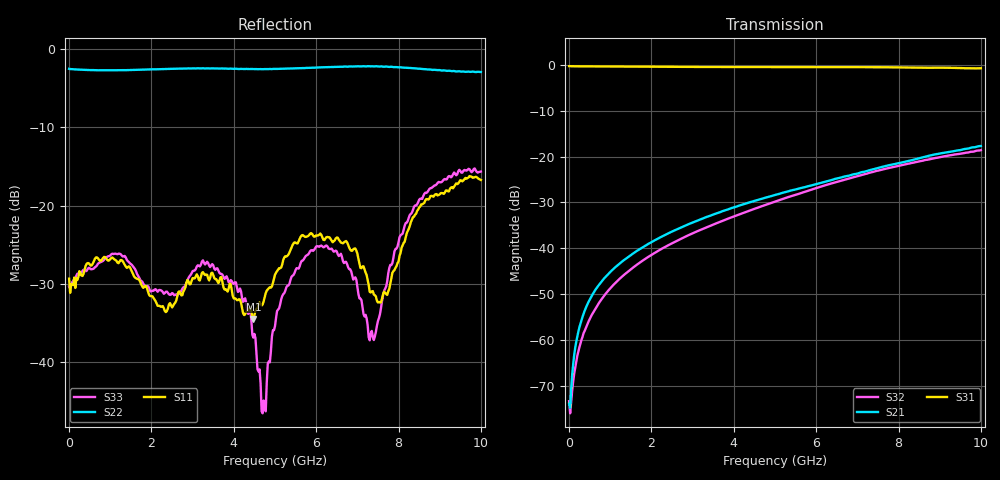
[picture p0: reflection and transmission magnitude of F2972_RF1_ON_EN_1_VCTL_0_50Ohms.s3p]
! Integrated Device Technology
! Corporate Headquarters
! 6024 Silver Creek Valley Road
! San Jose, CA 95138  USA
! Phone:  1-408-284-8200
! Toll Free:  1-800-223-1366
! Webpage:  http://www.idt.com/
! Timing and RF Division
! 515 Groton Road, Suite 102
! Westford, MA 01886-6024
! Device:  F2972
! Description: High Linearity Broadband SP2T
! Frequency:  0.005 - 10.000 GHz
! Package:  2x2 mm LQFN Plastic Package: 12 pin
! Ports:  3 RF, 3 DC
!  Pin  1  = GND
!  Pin  2  = RFC  = Port 3
!  Pin  3  = GND
!  Pin  4  = GND
!  Pin  5  = RF1  = Port 1
!  Pin  6  = GND
!  Pin  7  = VCTL
!  Pin  8  = EN
!  Pin  9  = VCC
!  Pin 10  = GND
!  Pin 11  = RF2  = Port 2
!  Pin 12  = GND
!  EP  = GND
! State:  RF1 Path Selected
! Voltage:  VCC  = +3.3 V
!  EN  = +3.3 V (Logic HIGH)
!  VCTL  = +0.0 V (Logic LOW)
! Data:  The device was measured on the F2972 50 ohm EVKit
!  using a calibrated network analyzer.
!  The Thru reference parh (J4 to J5) was removed from
!  the data to produce the de-embedded results.
!  The reference plane is the edge of the RF pins.
! Misc:
! Date Measured:  2017-01-28
! Date:  2017-05-10 SJ
! Note:
!  Integrated Device Technology supplies this data as a sample
!	of measured data.
!  Data was taken at 25 degrees C.
!  Integrated Device Technology reserves the right to change
! 	this data at anytime.
! 3 Port Network Data
! freq  dbS11  angS11  dbS12  angS12  dbS13  angS13
!  dbS21  angS21  dbS22  angS22  dbS23  angS23
!  dbS31  angS31  dbS32  angS32  dbS33  angS33
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# HZ S DB R 50
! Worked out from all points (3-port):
!   401 points, 1 MHz to 10 GHz, reference 50 ohm
!   strongest paths, dB at 1 MHz, 2.501 GHz, 5 GHz, 7.5 GHz, 10 GHz:
!     S31: -0.2, -0.4, -0.4, -0.5, -0.7
!     S21: -73.9, -36.4, -28.4, -22.5, -17.7
!     S32: -73.4, -38.9, -29.8, -23.1, -18.6
!   lowest |S11| = -34.5 dB at 4.476 GHz (marker M1), VSWR 1.04, Z = 51.4 - j1.32 ohm
!   |S11| at or under -10 dB: start of sweep to end of sweep
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1000000  -29.34 14.4  -86.83 85.9  -0.25 -0.4
         -73.94 -13.2  -2.51 179.2  -75.79 13.4
         -0.25 -0.3  -73.41 0.5  -30.32 20.9
2.50975e8  -28.38 16.3  -57.25 85.1  -0.29 -2.6
           -57.24 85.4  -2.62 176.1  -61.62 83.7
           -0.28 -2.5  -61.63 83.8  -28.83 18.2
8.259175e8  -26.69 16.7  -46.88 88.1  -0.32 -8.0
            -46.87 88.3  -2.71 168.3  -50.68 96.4
            -0.31 -8.0  -50.68 96.3  -27.07 15.2
4.475552e9  -34.50 -43.0  -29.78 80.8  -0.44 -42.1
            -29.75 80.9  -2.57 124.6  -31.46 98.3
            -0.43 -42.1  -31.48 98.4  -36.88 -167.5
4.725528e9  -32.23 -20.6  -29.10 79.4  -0.45 -44.6
            -29.09 79.6  -2.56 120.8  -30.66 97.3
            -0.43 -44.5  -30.68 97.3  -44.92 126.0
5.0005e9  -28.83 -3.9  -28.38 78.1  -0.45 -47.2
          -28.37 78.1  -2.53 117.0  -29.80 96.1
          -0.44 -47.1  -29.83 96.0  -35.40 57.0
6.225378e9  -24.19 24.4  -25.43 71.6  -0.48 -59.0
            -25.47 71.4  -2.31 103.4  -26.30 89.1
            -0.45 -58.9  -26.24 89.3  -25.14 33.1
7.40026e9  -31.36 94.8  -22.74 63.6  -0.49 -70.8
           -22.73 63.3  -2.21 94.3  -23.31 79.1
           -0.48 -70.7  -23.30 79.3  -37.18 117.7
8.40016e9  -21.17 171.4  -20.57 54.5  -0.57 -81.0
           -20.59 54.1  -2.45 86.0  -21.23 68.8
           -0.58 -80.9  -21.23 69.0  -19.99 175.0
1e10  -16.73 -175.5  -17.65 37.0  -0.69 -97.4
      -17.67 37.4  -2.93 63.4  -18.62 52.5
      -0.70 -97.4  -18.59 52.0  -15.65 165.5
